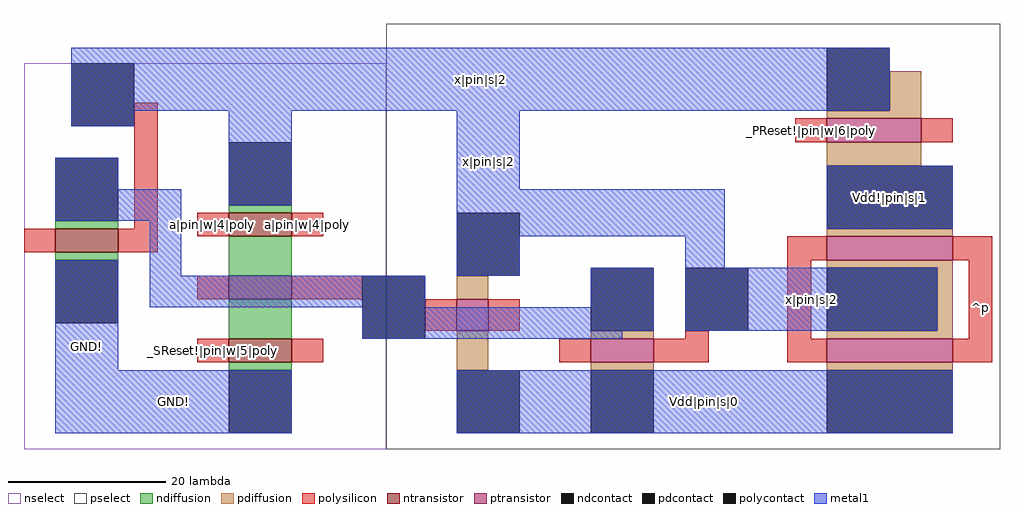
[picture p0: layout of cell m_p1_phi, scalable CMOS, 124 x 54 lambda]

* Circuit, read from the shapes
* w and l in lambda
.subckt m_p1_phi GND! Vdd!|pin|s|1 Vdd|pin|s|0 _PReset!|pin|w|6|poly _SReset!|pin|w|5|poly a|pin|w|3|poly a|pin|w|4|poly x|pin|s|2
M1 n1 x|pin|s|2 GND! VSUBS nfet w=8 l=3
M2 n2 _SReset!|pin|w|5|poly GND! VSUBS nfet w=8 l=3
M3 n3 n1 n2 VSUBS nfet w=8 l=3
M4 x|pin|s|2 a|pin|w|4|poly n3 VSUBS nfet w=8 l=3
M5 x|pin|s|2 n1 Vdd|pin|s|0 NWELL pfet w=4 l=4
M6 n1 x|pin|s|2 Vdd|pin|s|0 NWELL pfet w=8 l=3
M7 x|pin|s|2 a|pin|w|3|poly Vdd|pin|s|0 NWELL pfet w=16 l=3
M8 Vdd!|pin|s|1 a|pin|w|3|poly x|pin|s|2 NWELL pfet w=16 l=3
M9 x|pin|s|2 _PReset!|pin|w|6|poly Vdd!|pin|s|1 NWELL pfet w=12 l=3
.ends

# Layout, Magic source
magic
tech scmos
<< nselect >>
rect -47 22 -1 71
<< pselect >>
rect -1 22 77 76
<< ndiffusion >>
rect -43 50 -35 51
rect -21 52 -13 53
rect -43 46 -35 47
rect -21 44 -13 49
rect -21 36 -13 41
rect -21 32 -13 33
<< pdiffusion >>
rect 63 65 67 70
rect 55 64 67 65
rect 55 58 67 61
rect 55 49 71 50
rect 8 41 12 44
rect 8 32 12 37
rect 25 36 33 37
rect 55 45 71 46
rect 69 37 71 45
rect 55 36 71 37
rect 25 32 33 33
rect 55 32 71 33
<< ntransistor >>
rect -43 47 -35 50
rect -21 49 -13 52
rect -21 41 -13 44
rect -21 33 -13 36
<< ptransistor >>
rect 55 61 67 64
rect 55 46 71 49
rect 8 37 12 41
rect 25 33 33 36
rect 55 33 71 36
<< polysilicon >>
rect -33 50 -30 66
rect 51 61 55 64
rect 67 61 71 64
rect -47 47 -43 50
rect -35 47 -30 50
rect -25 49 -21 52
rect -13 49 -9 52
rect 50 46 55 49
rect 71 46 76 49
rect -25 41 -21 44
rect -13 41 -4 44
rect 4 37 8 41
rect 12 37 16 41
rect -25 33 -21 36
rect -13 33 -9 36
rect 37 36 40 37
rect 21 33 25 36
rect 33 33 40 36
rect 50 36 53 46
rect 73 36 76 46
rect 50 33 55 36
rect 71 33 76 36
<< ndcontact >>
rect -43 51 -35 59
rect -21 53 -13 61
rect -43 38 -35 46
rect -21 24 -13 32
<< pdcontact >>
rect 55 65 63 73
rect 8 44 16 52
rect 55 50 71 58
rect 25 37 33 45
rect 55 37 69 45
rect 8 24 16 32
rect 25 24 33 32
rect 55 24 71 32
<< polycontact >>
rect -41 63 -33 71
rect -4 36 4 44
rect 37 37 45 45
<< metal1 >>
rect -41 65 63 73
rect -41 63 -33 65
rect -43 55 -35 59
rect -43 51 -27 55
rect -21 53 -13 65
rect 8 55 16 65
rect -43 32 -35 46
rect -31 44 -27 51
rect 8 49 42 55
rect 55 50 71 58
rect 8 44 16 49
rect 37 45 42 49
rect -31 40 4 44
rect 25 40 33 45
rect -4 37 33 40
rect 37 37 69 45
rect -4 36 29 37
rect -43 24 -13 32
rect 8 24 71 32
<< labels >>
rlabel space 71 22 78 58 3 ^p
rlabel metal1 -41 65 63 73 1 x|pin|s|2
rlabel metal1 8 44 16 73 1 x|pin|s|2
rlabel metal1 37 37 69 45 1 x|pin|s|2
rlabel polysilicon 50 33 53 49 1 a|pin|w|3|poly
rlabel polysilicon 73 33 76 49 1 a|pin|w|3|poly
rlabel polysilicon -13 49 -9 52 1 a|pin|w|4|poly
rlabel polysilicon -25 49 -21 52 1 a|pin|w|4|poly
rlabel polysilicon -25 33 -21 36 1 _SReset!|pin|w|5|poly
rlabel polysilicon -13 33 -9 36 1 _SReset!|pin|w|5|poly
rlabel polysilicon 51 61 55 64 1 _PReset!|pin|w|6|poly
rlabel polysilicon 67 61 71 64 1 _PReset!|pin|w|6|poly
rlabel metal1 55 50 71 58 1 Vdd!|pin|s|1
rlabel metal1 8 24 71 32 1 Vdd|pin|s|0
rlabel metal1 -43 24 -35 46 1 GND!
rlabel metal1 -43 24 -13 32 1 GND!
<< end >>
